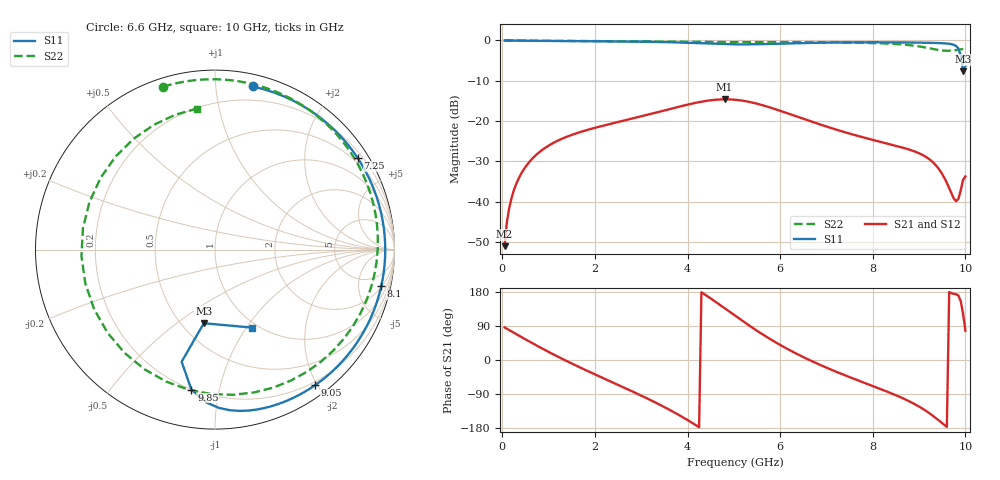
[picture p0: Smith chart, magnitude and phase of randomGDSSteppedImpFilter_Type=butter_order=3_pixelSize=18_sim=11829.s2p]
! freq	dB(S11)	phase(S11)	dB(S12)	phase(S12)
!  dB(S21)	phase(S21)	dB(S22)	phase(S22)
!S-par simulation data
#  GHz  S  DB  R 50
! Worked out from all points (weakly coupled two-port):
!   200 points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, 50 MHz to 10 GHz, reference 50 ohm
!   highest |S21| = -14.61 dB at 4.8 GHz (marker M1); lowest = -51.0 dB at 50 MHz (marker M2)
!   lowest |S11| = -7.6 dB at 9.95 GHz (marker M3), VSWR 2.42, Z = 31.9 - j31.6 ohm
!   |S11| at or under -10 dB: nowhere
!   |S22| runs from -2.6 to 0.0 dB; largest |S21 - S12| = 0
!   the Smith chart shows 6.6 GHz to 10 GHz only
!   S11 on the Smith chart (normalised r, x): 6.6 GHz: 0.09, +1.25; 7.25 GHz: 0.36, +3.37; 8.1 GHz: 2.14, -8.68; 9.05 GHz: 0.15, -1.97; 9.85 GHz: 0.20, -0.83; 10 GHz: 0.94, -1.06
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0.05  -0.00 -4.9  -51.04 85.9  -51.04 85.9  -0.00 -2.3
0.3  -0.04 -28.8  -35.62 68.4  -35.62 68.4  -0.02 -13.8
0.85  -0.11 -79.1  -27.26 31.1  -27.26 31.1  -0.06 -38.5
1.75  -0.19 -151.9  -22.49 -23.8  -22.49 -23.8  -0.12 -76.6
2.5  -0.25 152.4  -20.24 -65.7  -20.24 -65.7  -0.17 -105.6
3.4  -0.39 80.2  -17.66 -117.9  -17.66 -117.9  -0.24 -137.8
4.15  -0.63 4.3  -15.54 -169.6  -15.54 -169.6  -0.33 -163.2
4.8  -0.92 -79.5  -14.61 136.8  -14.61 136.8  -0.41 175.2
5.05  -0.97 -114.2  -14.74 115.0  -14.74 115.0  -0.42 166.8
5.65  -0.89 167.9  -16.17 65.4  -16.17 65.4  -0.41 145.6
6.1  -0.75 120.1  -17.84 32.9  -17.84 32.9  -0.40 128.4
6.6  -0.61 77.0  -19.83 1.8  -19.83 1.8  -0.42 107.6
6.7  -0.58 69.5  -20.22 -3.9  -20.22 -3.9  -0.43 103.2
7.25  -0.50 32.7  -22.26 -33.0  -22.26 -33.0  -0.48 77.0
8.1  -0.46 -12.4  -24.97 -73.5  -24.97 -73.5  -0.68 26.8
8.35  -0.47 -23.9  -25.69 -85.5  -25.69 -85.5  -0.79 8.1
9.05  -0.55 -53.6  -28.26 -126.6  -28.26 -126.6  -1.57 -67.1
9.3  -0.60 -64.1  -30.24 -147.4  -30.24 -147.4  -2.11 -110.3
9.55  -0.72 -75.7  -34.19 -171.8  -34.19 -171.8  -2.54 -165.4
9.85  -2.04 -99.5  -39.28 169.9  -39.28 169.9  -2.31 126.2
9.95  -7.64 -98.6  -34.59 122.1  -34.59 122.1  -2.12 106.5
10  -6.38 -64.9  -33.73 77.4  -33.73 77.4  -2.03 97.5
